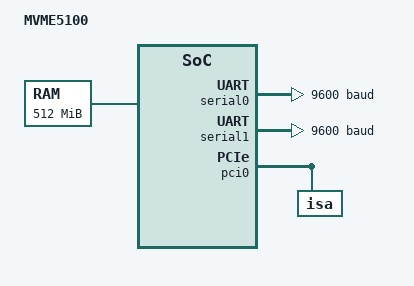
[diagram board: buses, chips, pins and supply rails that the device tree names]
/*
 * Device Tree Source for Motorola/Emerson MVME5100.
 *
 * Copyright 2013 CSC Australia Pty. Ltd.
 *
 * This file is licensed under the terms of the GNU General Public
 * License version 2.  This program is licensed "as is" without
 * any warranty of any kind, whether express or implied.
 */

/dts-v1/;

/ {
	model = "MVME5100";
	compatible = "MVME5100";
	#address-cells = <1>;
	#size-cells = <1>;

	aliases {
		serial0 = &serial0;
		pci0 = &pci0;
	};

	cpus {
		#address-cells = <1>;
		#size-cells = <0>;

		PowerPC,7410 {
			device_type = "cpu";
			reg = <0x0>;
			/* Following required by dtc but not used */
			d-cache-line-size = <32>;
			i-cache-line-size = <32>;
			i-cache-size = <32768>;
			d-cache-size = <32768>;
			timebase-frequency = <25000000>;
			clock-frequency = <500000000>;
			bus-frequency = <100000000>;
		};
	};

	memory {
		device_type = "memory";
		reg = <0x0 0x20000000>;
	};

	hawk@fef80000 {
		#address-cells = <1>;
		#size-cells = <1>;
		compatible = "hawk-bridge", "simple-bus";
		ranges = <0x0 0xfef80000 0x10000>;
		reg = <0xfef80000 0x10000>;

		serial0: serial@8000 {
			device_type = "serial";
			compatible = "ns16550";
			reg = <0x8000 0x80>;
			reg-shift = <4>;
			clock-frequency = <1843200>;
			current-speed = <9600>;
			interrupts = <1 1>; // IRQ1 Level Active Low.
			interrupt-parent = <&mpic>;
		};

		serial1: serial@8200 {
			device_type = "serial";
			compatible = "ns16550";
			reg = <0x8200 0x80>;
			reg-shift = <4>;
			clock-frequency = <1843200>;
			current-speed = <9600>;
			interrupts = <1 1>; // IRQ1 Level Active Low.
			interrupt-parent = <&mpic>;
		};

		mpic: interrupt-controller@f3f80000 {
			#interrupt-cells = <2>;
			#address-cells = <0>;
			device_type = "open-pic";
			compatible = "chrp,open-pic";
			interrupt-controller;
			reg = <0xf3f80000 0x40000>;
		};
	};

	pci0: pci@feff0000 {
		#address-cells = <3>;
		#size-cells = <2>;
		#interrupt-cells = <1>;
		device_type = "pci";
		compatible = "hawk-pci";
		reg = <0xfec00000 0x400000>;
		8259-interrupt-acknowledge = <0xfeff0030>;
		ranges = <0x1000000 0x0        0x0 0xfe000000 0x0 0x800000
			  0x2000000 0x0 0x80000000 0x80000000 0x0 0x74000000>;
		bus-range = <0 255>;
		clock-frequency = <33333333>;
		interrupt-parent = <&mpic>;
		interrupt-map-mask = <0xf800 0x0 0x0 0x7>;
		interrupt-map = <

			/*
			 * This definition (IDSEL 11) duplicates the
			 * interrupts definition in the i8259
			 * interrupt controller below.
			 *
			 * Do not change the interrupt sense/polarity from
			 * 0x2 to anything else, doing so will cause endless
			 * "spurious" i8259 interrupts to be fielded.
			 */
			// IDSEL 11 - iPMC712 PCI/ISA Bridge
			0x5800 0x0 0x0 0x1 &mpic 0x0 0x2
			0x5800 0x0 0x0 0x2 &mpic 0x0 0x2
			0x5800 0x0 0x0 0x3 &mpic 0x0 0x2
			0x5800 0x0 0x0 0x4 &mpic 0x0 0x2

			/* IDSEL 12 - Not Used */

			/* IDSEL 13 - Universe VME Bridge */
			0x6800 0x0 0x0 0x1 &mpic 0x5 0x1
			0x6800 0x0 0x0 0x2 &mpic 0x6 0x1
			0x6800 0x0 0x0 0x3 &mpic 0x7 0x1
			0x6800 0x0 0x0 0x4 &mpic 0x8 0x1

			/* IDSEL 14 - ENET 1 */
			0x7000 0x0 0x0 0x1 &mpic 0x2 0x1

			/* IDSEL 15 - Not Used */

			/* IDSEL 16 - PMC Slot 1 */
			0x8000 0x0 0x0 0x1 &mpic 0x9 0x1
			0x8000 0x0 0x0 0x2 &mpic 0xa 0x1
			0x8000 0x0 0x0 0x3 &mpic 0xb 0x1
			0x8000 0x0 0x0 0x4 &mpic 0xc 0x1

			/* IDSEL 17 - PMC Slot 2 */
			0x8800 0x0 0x0 0x1 &mpic 0xc 0x1
			0x8800 0x0 0x0 0x2 &mpic 0x9 0x1
			0x8800 0x0 0x0 0x3 &mpic 0xa 0x1
			0x8800 0x0 0x0 0x4 &mpic 0xb 0x1

			/* IDSEL 18 - Not Used */

			/* IDSEL 19 - ENET 2 */
			0x9800 0x0 0x0 0x1 &mpic 0xd 0x1

			/* IDSEL 20 - PMCSPAN (PCI-X) */
			0xa000 0x0 0x0 0x1 &mpic 0x9 0x1
			0xa000 0x0 0x0 0x2 &mpic 0xa 0x1
			0xa000 0x0 0x0 0x3 &mpic 0xb 0x1
			0xa000 0x0 0x0 0x4 &mpic 0xc 0x1

		>;

		isa {
			#address-cells = <2>;
			#size-cells = <1>;
			#interrupt-cells = <2>;
			device_type = "isa";
			compatible = "isa";
			ranges = <0x00000001 0 0x01000000 0 0x00000000 0x00001000>;
			interrupt-parent = <&i8259>;

			i8259: interrupt-controller@20 {
				#interrupt-cells = <2>;
				#address-cells = <0>;
				interrupts = <0 2>;
				device_type = "interrupt-controller";
				compatible = "chrp,iic";
				interrupt-controller;
				reg = <1 0x00000020 0x00000002
                                       1 0x000000a0 0x00000002
                                       1 0x000004d0 0x00000002>;
				interrupt-parent = <&mpic>;
			};

		};

	};

	chosen {
		stdout-path = &serial0;
        };

};
